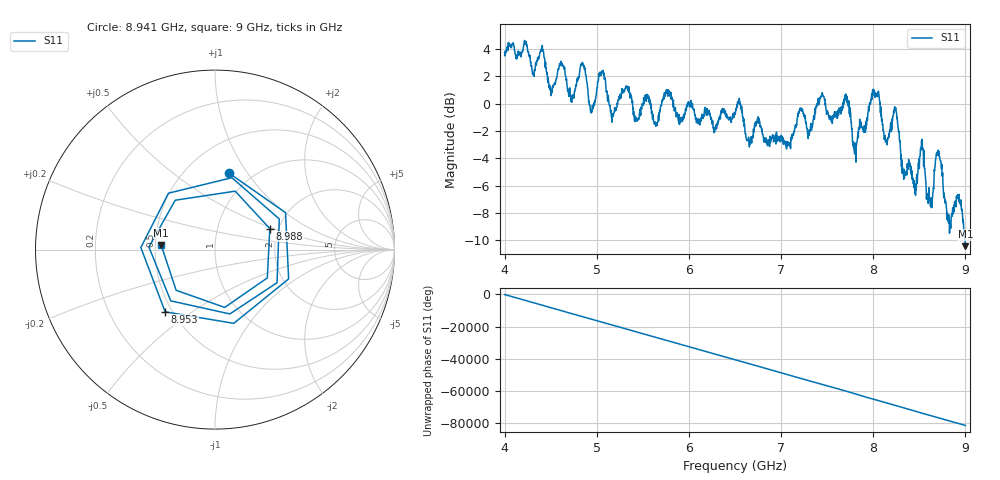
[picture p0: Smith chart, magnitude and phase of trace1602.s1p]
! Created with skrf 1.8.0 (http://scikit-rf.org).
# Hz S RI R 50.0
!freq ReS11 ImS11
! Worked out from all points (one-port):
!   1601 points, 4 GHz to 9 GHz, reference 50 ohm
!   lowest |S11| = -10.4 dB at 9 GHz (marker M1), VSWR 1.86, Z = 26.9 + j1.55 ohm
!   |S11| at or under -10 dB: 8.996375 GHz to end of sweep
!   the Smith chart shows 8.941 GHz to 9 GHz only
!   S11 on the Smith chart (normalised r, x): 8.941 GHz: 0.78, +0.82; 8.953 GHz: 0.46, -0.40; 8.988 GHz: 1.80, +0.47; 9 GHz: 0.54, +0.03
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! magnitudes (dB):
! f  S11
! 4 GHz  3.7
! 4.406 GHz  4.1
! 4.506 GHz  0.8
! 4.625 GHz  2.9
! 4.738 GHz  0.4
! 4.85 GHz  2.8
! 4.944 GHz  -0.5
! 5.047 GHz  2.0
! 5.162 GHz  -1.0
! 5.25 GHz  0.7
! 5.875 GHz  -0.8
! 6.5 GHz  -0.8
! 7.125 GHz  -2.4
! 7.444 GHz  0.7
! 7.75 GHz  -1.0
! 7.803 GHz  -2.9
! 8.038 GHz  0.7
! 8.141 GHz  -2.8
! 8.244 GHz  -0.3
! 8.375 GHz  -4.6
! 8.528 GHz  -3.4
! 8.619 GHz  -7.4
! 8.706 GHz  -3.5
! 8.819 GHz  -8.1
! 8.941 GHz  -7.2
! 8.953 GHz  -7.0
! 8.988 GHz  -9.7
! 9 GHz  -10.4
